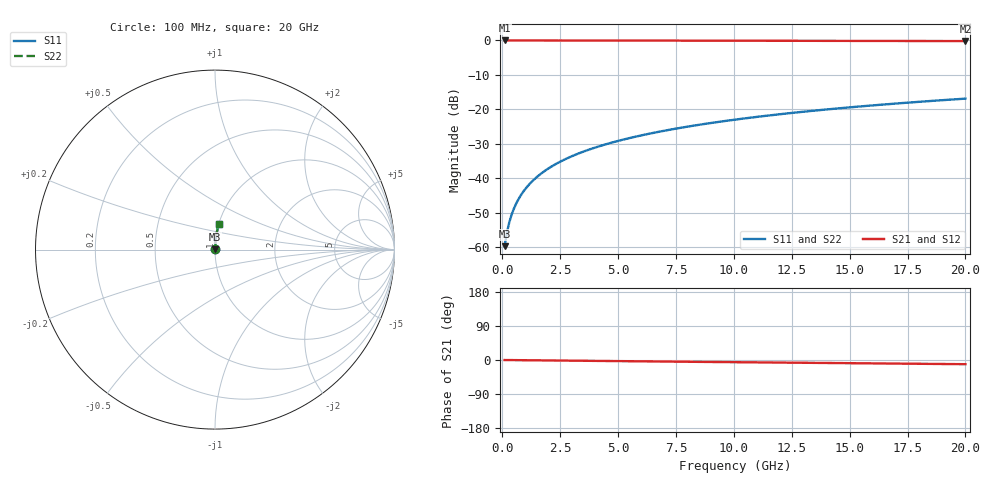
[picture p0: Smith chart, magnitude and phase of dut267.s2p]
! Touchstone file exported from HFSS 2024.1.0
!  File:  C:/UserFiles/LocalFiles/RDL_TSV_Batchsim/temp_RDL_top_267_1778689507.aedt
!  Generated:  12:27:07 AM May 14, 2026
!  Design:  RDL_top
!  Project:  temp_RDL_top_267_1778689507
!  Setup:  Setup1
!  Solution:  Sweep
! Variables:
!  dtsv = 10.80580581um
!  hbump = 3um
!  htsv = 77.64um
!  ldown = 100um
!  lrdl = 116.19um
!  p = 40
!  p1 = 46.57um
!  rhole = 1um
!  t = 450um
!  tdown = 3.915915916um
!  trdl = 4.85um
!  wdown = 15.38538539um
!  wrdl = 13.93um
# GHz S MA R 50.000000
! Terminal data exported
! Port[1] = Box2_T1
! Port[2] = Box2_T2
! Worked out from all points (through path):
!   200 points, 100 MHz to 20 GHz, reference 50 ohm
!   highest |S21| = -0.01 dB at 100 MHz (marker M1); lowest = -0.2 dB at 20 GHz (marker M2)
!   group delay of S21, straight-line fit = 1.53 ps
!   lowest |S11| = -59.7 dB at 100 MHz (marker M3), VSWR 1.00, Z = 50.1 + j0.0724 ohm
!   |S11| at or under -10 dB: start of sweep to end of sweep
!   |S22| runs from -59.7 to -16.9 dB; largest |S21 - S12| = 3e-15
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0.1  0.001031 44.5  0.9993 -0.1  0.9993 -0.1  0.001031 44.5
! Gamma 0 0 0 0
! Port Impedance 50 0 50 0
0.2  0.001621 62.2  0.9992 -0.1  0.9992 -0.1  0.001621 62.2
0.3  0.002272 70.0  0.9992 -0.2  0.9992 -0.2  0.002272 70.0
0.4  0.002938 74.2  0.9992 -0.2  0.9992 -0.2  0.002938 74.2
0.5  0.00361 77.0  0.9992 -0.3  0.9992 -0.3  0.00361 77.0
0.6  0.004286 78.9  0.9991 -0.4  0.9991 -0.4  0.004286 78.9
0.8  0.005646 81.4  0.9991 -0.5  0.9991 -0.5  0.005646 81.4
1.1  0.007699 83.4  0.999 -0.7  0.999 -0.7  0.007699 83.4
1.5  0.01045 84.9  0.9989 -0.9  0.9989 -0.9  0.01045 84.9
1.8  0.01252 85.6  0.9987 -1.1  0.9987 -1.1  0.01252 85.6
2.1  0.01459 86.0  0.9986 -1.3  0.9986 -1.3  0.01459 86.0
2.7  0.01875 86.6  0.9982 -1.6  0.9982 -1.6  0.01875 86.6
3.5  0.0243 86.9  0.9977 -2.1  0.9977 -2.1  0.0243 86.9
4.2  0.02918 87.1  0.9971 -2.5  0.9971 -2.5  0.02918 87.1
5  0.03477 87.1  0.9964 -3.0  0.9964 -3.0  0.03477 87.1
5.9  0.04111 87.0  0.9955 -3.5  0.9955 -3.5  0.04111 87.0
6.8  0.04748 86.9  0.9945 -4.0  0.9945 -4.0  0.04748 86.9
8.3  0.0582 86.5  0.9929 -4.8  0.9929 -4.8  0.0582 86.5
10.1  0.07118 85.8  0.9908 -5.8  0.9908 -5.8  0.07118 85.8
13.4  0.09517 84.3  0.9869 -7.6  0.9869 -7.6  0.09517 84.3
16.7  0.1192 82.6  0.9827 -9.3  0.9827 -9.3  0.1192 82.6
20  0.1429 80.8  0.9784 -11.1  0.9784 -11.1  0.1429 80.8
